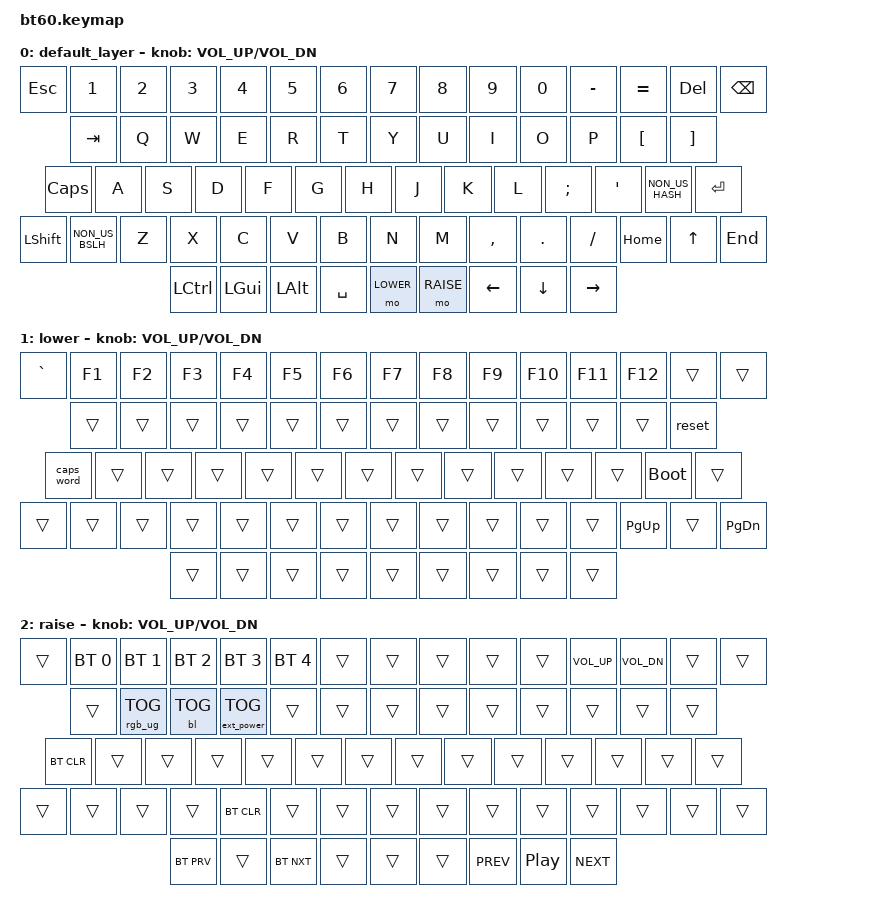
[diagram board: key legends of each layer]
#include <behaviors.dtsi>
#include <dt-bindings/zmk/keys.h>
#include <dt-bindings/zmk/bt.h>
#include <dt-bindings/zmk/rgb.h>
#include <dt-bindings/zmk/backlight.h>
#include <dt-bindings/zmk/ext_power.h>

#define DEFAULT 0
#define LOWER   1
#define RAISE   2

/ {
	keymap {
		compatible = "zmk,keymap";

		default_layer {
				// ------------------------------------------------------------------------------------------
				// | ESC |  1  |  2  |  3  |  4  |  5  |  6  |  7  |  8  |  9  |  0  |  -  |  =  |BKSP | DEL |
				// | TAB  |  Q  |  W  |  E  |  R  |  T  |  Y  |  U  |  I  |  O  |  P  |  [  |  ]    |        |
				// | CAPS  |  A  |  S  |  D  |  F  |  G  |  H  |  J  |  K  |  L  |  ;  |  '  | #   | ENTER   |
				// |SHFT | \|  Z  |  X  |  C  |  V  |  B  |  N  |  M  |  ,  |  .  | /  | HOME |  UP  | END   |
				// |  CTL  |  WIN  |  ALT  |            SPACE            | LWR | RAISE | LEFT | DOWN | RIGHT |
				// ------------------------------------------------------------------------------------------
			bindings = <
				&kp ESC                 &kp N1 &kp N2 &kp N3 &kp N4 &kp N5 &kp N6 &kp N7 &kp N8    &kp N9  &kp N0   &kp MINUS &kp EQUAL &kp DEL &kp BSPC
				&kp TAB                  &kp Q  &kp W  &kp E  &kp R  &kp T  &kp Y  &kp U  &kp I     &kp O   &kp P    &kp LBKT  &kp RBKT
				&kp CLCK                  &kp A  &kp S  &kp D  &kp F  &kp G  &kp H  &kp J  &kp K     &kp L   &kp SEMI &kp SQT   &kp NON_US_HASH  &kp RET
				&kp LSHFT &kp NON_US_BSLH  &kp Z  &kp X  &kp C  &kp V  &kp B  &kp N  &kp M  &kp COMMA &kp DOT &kp FSLH &kp HOME   &kp UP    &kp END
				&kp LCTRL   &kp LGUI     &kp LALT                 &kp SPACE                &mo LOWER   &mo RAISE    &kp LEFT   &kp DOWN  &kp RIGHT
			>;
			sensor-bindings = <&inc_dec_kp C_VOL_UP C_VOL_DN>;
		};
		
		lower {
			bindings = <
				&kp GRAVE  &kp F1 &kp F2 &kp F3 &kp F4 &kp F5 &kp F6 &kp F7 &kp F8 &kp F9 &kp F10 &kp F11   &kp F12   &trans   &trans
				&trans      &trans &trans &trans &trans &trans &trans &trans &trans &trans &trans &trans &reset
				&caps_word   &trans &trans &trans &trans &trans &trans &trans &trans &trans &trans &trans    &bootloader  &trans
				&trans &trans &trans &trans &trans &trans &trans &trans &trans &trans &trans &trans &kp PG_UP &trans    &kp PG_DN
				&trans     &trans    &trans                  &trans                   &trans &trans &trans    &trans    &trans
			>;
			sensor-bindings = <&inc_dec_kp C_VOL_UP C_VOL_DN>; 
		};
		
		raise {
			bindings = <
				&trans &bt BT_SEL 0 &bt BT_SEL 1 &bt BT_SEL 2 &bt BT_SEL 3 &bt BT_SEL 4 &trans &trans &trans &trans &trans &kp C_VOL_UP &kp C_VOL_DN  &trans  &trans
				&trans 	    &rgb_ug RGB_TOG &bl BL_TOG &ext_power EP_TOG &trans &trans &trans &trans &trans &trans &trans &trans  &trans 
				&bt BT_CLR   &trans &trans &trans     &trans &trans &trans &trans &trans &trans &trans &trans  &trans   &trans 
				&trans &trans &trans &trans &bt BT_CLR &trans &trans &trans &trans &trans &trans &trans &trans     &trans           &trans
				&bt BT_PRV &trans    &bt BT_NXT       &trans                       &trans &trans &kp C_PREV &kp C_PLAY_PAUSE &kp C_NEXT 
			>;
			sensor-bindings = <&inc_dec_kp C_VOL_UP C_VOL_DN>;
		};
		
		
	};
};
